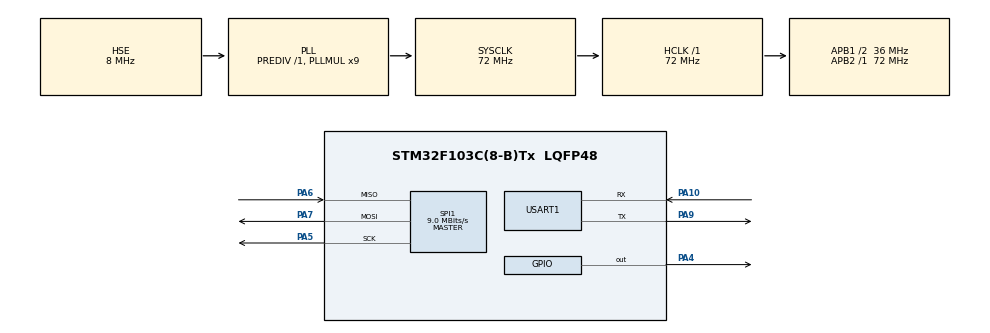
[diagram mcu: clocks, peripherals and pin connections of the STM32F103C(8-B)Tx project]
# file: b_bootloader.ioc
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Dma.Request0=USART1_RX
Dma.USART1_RX.0.Direction=DMA_PERIPH_TO_MEMORY
Dma.USART1_RX.0.Instance=DMA1_Channel5
Dma.USART1_RX.0.MemDataAlignment=DMA_MDATAALIGN_BYTE
Dma.USART1_RX.0.MemInc=DMA_MINC_ENABLE
Dma.USART1_RX.0.Mode=DMA_NORMAL
Dma.USART1_RX.0.PeriphDataAlignment=DMA_PDATAALIGN_BYTE
Dma.USART1_RX.0.PeriphInc=DMA_PINC_DISABLE
Dma.USART1_RX.0.Priority=DMA_PRIORITY_LOW
Mcu.Family=STM32F1
Mcu.Name=STM32F103C(8-B)Tx
Mcu.Package=LQFP48
NVIC.DMA1_Channel5_IRQn=true\:0\:0\:false\:false\:true\:false\:true\:true
NVIC.PriorityGroup=NVIC_PRIORITYGROUP_4
NVIC.USART1_IRQn=true\:5\:0\:true\:false\:true\:true\:true\:true
PA10.Mode=Asynchronous
PA10.Signal=USART1_RX
PA13.Mode=Serial_Wire
PA13.Signal=SYS_JTMS-SWDIO
PA14.Mode=Serial_Wire
PA14.Signal=SYS_JTCK-SWCLK
PA4.GPIO_Speed=GPIO_SPEED_FREQ_HIGH
PA4.PinState=GPIO_PIN_SET
PA4.Signal=GPIO_Output
PA5.Mode=Full_Duplex_Master
PA5.Signal=SPI1_SCK
PA6.Mode=Full_Duplex_Master
PA6.Signal=SPI1_MISO
PA7.Mode=Full_Duplex_Master
PA7.Signal=SPI1_MOSI
PA9.Mode=Asynchronous
PA9.Signal=USART1_TX
PD0-OSC_IN.Mode=HSE-External-Oscillator
PD0-OSC_IN.Signal=RCC_OSC_IN
PD1-OSC_OUT.Mode=HSE-External-Oscillator
PD1-OSC_OUT.Signal=RCC_OSC_OUT
ProjectManager.HeapSize=0x200
ProjectManager.StackSize=0x400
ProjectManager.TargetToolchain=MDK-ARM V5.32
RCC.AHBFreq_Value=72000000
RCC.APB1CLKDivider=RCC_HCLK_DIV2
RCC.APB1Freq_Value=36000000
RCC.APB1TimFreq_Value=72000000
RCC.APB2Freq_Value=72000000
RCC.APB2TimFreq_Value=72000000
RCC.HCLKFreq_Value=72000000
RCC.PLLMUL=RCC_PLL_MUL9
RCC.PLLSourceVirtual=RCC_PLLSOURCE_HSE
RCC.SYSCLKFreq_VALUE=72000000
RCC.SYSCLKSource=RCC_SYSCLKSOURCE_PLLCLK
RCC.USBFreq_Value=72000000
SPI1.BaudRatePrescaler=SPI_BAUDRATEPRESCALER_8
SPI1.CalculateBaudRate=9.0 MBits/s
SPI1.Direction=SPI_DIRECTION_2LINES
SPI1.Mode=SPI_MODE_MASTER
SPI1.VirtualType=VM_MASTER
USART1.VirtualMode=VM_ASYNC
board=custom

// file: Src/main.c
/* USER CODE BEGIN Header */
/**
  ******************************************************************************
  * @file           : main.c
  * @brief          : Main program body
  ******************************************************************************
  * @attention
  *
  * Copyright (c) 2024 STMicroelectronics.
  * All rights reserved.
  *
  * This software is licensed under terms that can be found in the LICENSE file
  * in the root directory of this software component.
  * If no LICENSE file comes with this software, it is provided AS-IS.
  *
  ******************************************************************************
  */
/* USER CODE END Header */

/* USER CODE BEGIN Includes */
#include "bootloader.h"
/* USER CODE END Includes */

/* USER CODE BEGIN PV */
uint32_t BootState_Flag=0;
uint8_t serial_rx_cmd_buf[serial_rx_cmd_buf_length];
uint8_t rx_flag=0;
/* USER CODE END PV */

void SystemClock_Config(void);

int main(void)
{

  /* MCU Configuration--------------------------------------------------------*/

  /* Reset of all peripherals, Initializes the Flash interface and the Systick. */
  HAL_Init();

  /* Configure the system clock */
  SystemClock_Config();

  /* Initialize all configured peripherals */
  MX_GPIO_Init();
  MX_DMA_Init();
  MX_SPI1_Init();
  MX_USART1_UART_Init();
	HAL_UARTEx_ReceiveToIdle_DMA(&huart1,serial_rx_cmd_buf, serial_rx_cmd_buf_length);
	HAL_Delay(1000);
  /* USER CODE BEGIN 2 */
  uint8_t mid=0;
  uint16_t did=0;
  w25qxx_readid(&mid,&did);
  if(did==0x4017)
  {
		read_ota_parm_info();
  }
	uint8_t flag=1;
  /* USER CODE END 2 */

  /* Infinite loop */
  while (1)
  {

    /* USER CODE BEGIN 3 */
		if(flag == 1)
		{
			flag=0;
			printf("Read W25Q64 Error\r\n");
			for(uint8_t i=0;i<3;i++)
			{
				printf("Please Power On And Restart\r\n");
				HAL_Delay(1000);
			}
		}
  }
  /* USER CODE END 3 */
}

void SystemClock_Config(void)
{
  RCC_OscInitTypeDef RCC_OscInitStruct = {0};
  RCC_ClkInitTypeDef RCC_ClkInitStruct = {0};

  /** Initializes the RCC Oscillators according to the specified parameters
  * in the RCC_OscInitTypeDef structure.
  */
  RCC_OscInitStruct.OscillatorType = RCC_OSCILLATORTYPE_HSE;
  RCC_OscInitStruct.HSEState = RCC_HSE_ON;
  RCC_OscInitStruct.HSEPredivValue = RCC_HSE_PREDIV_DIV1;
  RCC_OscInitStruct.HSIState = RCC_HSI_ON;
  RCC_OscInitStruct.PLL.PLLState = RCC_PLL_ON;
  RCC_OscInitStruct.PLL.PLLSource = RCC_PLLSOURCE_HSE;
  RCC_OscInitStruct.PLL.PLLMUL = RCC_PLL_MUL9;
  if (HAL_RCC_OscConfig(&RCC_OscInitStruct) != HAL_OK)
  {
    Error_Handler();
  }

  /** Initializes the CPU, AHB and APB buses clocks
  */
  RCC_ClkInitStruct.ClockType = RCC_CLOCKTYPE_HCLK|RCC_CLOCKTYPE_SYSCLK
                              |RCC_CLOCKTYPE_PCLK1|RCC_CLOCKTYPE_PCLK2;
  RCC_ClkInitStruct.SYSCLKSource = RCC_SYSCLKSOURCE_PLLCLK;
  RCC_ClkInitStruct.AHBCLKDivider = RCC_SYSCLK_DIV1;
  RCC_ClkInitStruct.APB1CLKDivider = RCC_HCLK_DIV2;
  RCC_ClkInitStruct.APB2CLKDivider = RCC_HCLK_DIV1;

  if (HAL_RCC_ClockConfig(&RCC_ClkInitStruct, FLASH_LATENCY_2) != HAL_OK)
  {
    Error_Handler();
  }
}

/* USER CODE BEGIN 4 */
void HAL_UARTEx_RxEventCallback(UART_HandleTypeDef *huart, uint16_t Size)
{
	if(huart->Instance==USART1)
	{
		rx_flag=1;
	}
}
/* USER CODE END 4 */

void Error_Handler(void)
{
  __disable_irq();
  while (1)
  {
  }
}
